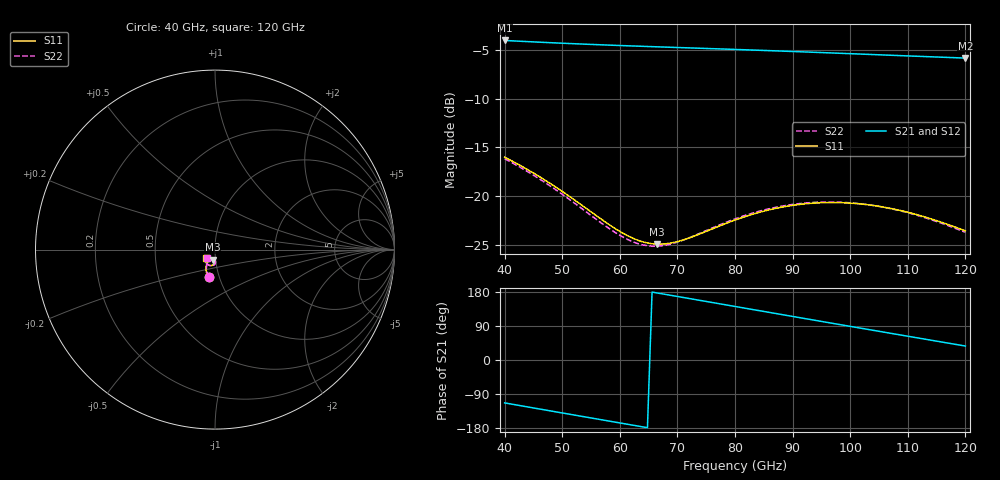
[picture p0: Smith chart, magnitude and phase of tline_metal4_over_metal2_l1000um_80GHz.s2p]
#  GHZ S DB R 50
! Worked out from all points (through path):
!   101 points, 40 GHz to 120 GHz, reference 50 ohm
!   highest |S21| = -4.06 dB at 40 GHz (marker M1); lowest = -5.9 dB at 120 GHz (marker M2)
!   group delay of S21, straight-line fit = 7.3 ps
!   lowest |S11| = -24.9 dB at 66.4 GHz (marker M3), VSWR 1.12, Z = 48.4 - j5.39 ohm
!   |S11| at or under -10 dB: start of sweep to end of sweep
!   |S22| runs from -25.1 to -16.2 dB; largest |S21 - S12| = 9.1e-14
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40  -16.00 -102.9  -4.06 -113.2  -4.06 -113.2  -16.16 -102.6
43.2  -17.01 -108.8  -4.15 -121.7  -4.15 -121.7  -17.20 -108.4
47.2  -18.42 -114.8  -4.26 -132.3  -4.26 -132.3  -18.67 -114.2
53.6  -20.99 -119.9  -4.43 -149.2  -4.43 -149.2  -21.34 -118.8
57.6  -22.68 -118.9  -4.52 -159.7  -4.52 -159.7  -23.08 -117.0
60.8  -23.86 -115.0  -4.59 -168.2  -4.59 -168.2  -24.26 -112.2
64  -24.67 -108.6  -4.66 -176.6  -4.66 -176.6  -24.98 -105.0
66.4  -24.89 -103.0  -4.71 177.1  -4.71 177.1  -25.11 -99.0
67.2  -24.89 -101.2  -4.72 175.0  -4.72 175.0  -25.07 -97.2
70.4  -24.57 -95.0  -4.78 166.6  -4.78 166.6  -24.61 -91.1
73.6  -23.92 -91.3  -4.85 158.2  -4.85 158.2  -23.86 -87.8
80  -22.44 -91.0  -4.97 141.3  -4.97 141.3  -22.32 -88.4
84  -21.68 -94.0  -5.06 130.8  -5.06 130.8  -21.56 -91.9
87.2  -21.22 -97.6  -5.12 122.3  -5.12 122.3  -21.11 -95.8
90.4  -20.90 -101.7  -5.19 113.9  -5.19 113.9  -20.80 -100.1
93.6  -20.71 -106.2  -5.26 105.5  -5.26 105.5  -20.63 -104.8
96.8  -20.64 -110.8  -5.34 97.1  -5.34 97.1  -20.59 -109.6
100  -20.70 -115.5  -5.41 88.8  -5.41 88.8  -20.67 -114.4
103.2  -20.88 -120.0  -5.48 80.4  -5.48 80.4  -20.87 -119.0
107.2  -21.26 -125.2  -5.57 70.0  -5.57 70.0  -21.29 -124.4
113.6  -22.23 -132.0  -5.72 53.4  -5.72 53.4  -22.31 -131.3
120  -23.54 -135.4  -5.86 36.9  -5.86 36.9  -23.69 -134.6
